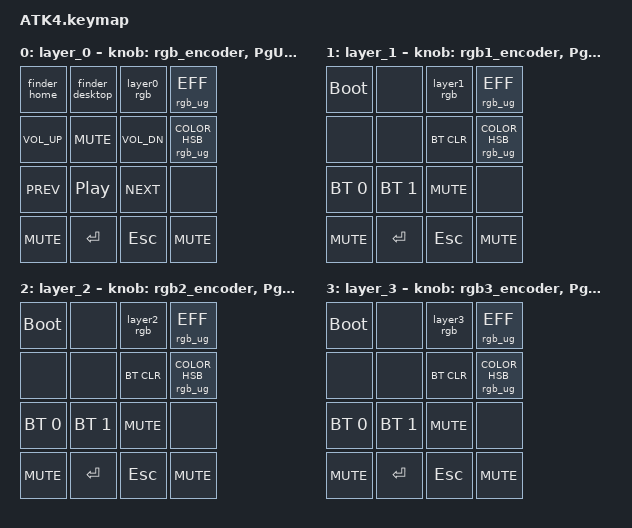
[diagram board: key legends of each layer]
#include <behaviors.dtsi>
#include <dt-bindings/zmk/keys.h>
#include <dt-bindings/zmk/bt.h>
#include <dt-bindings/zmk/outputs.h>
#include <dt-bindings/zmk/rgb.h>

/ {

    behaviors {

   

   erm0_hid: behavior_output_config_erm0_transport {
                        compatible = "zmk,behavior-output-config";
                        #binding-cells = <0>; 
                        device = <&erm0>;
                        source = "layer-state-change";
                         // force = <0>;
  };



   rgb_encoder: rgb_encoder {
            compatible = "zmk,behavior-sensor-rotate";
            #sensor-binding-cells = <0>;
            bindings = <&layer0_rgb>, <&layer0_rgb>;
        };

        rgb1_encoder: rgb1_encoder {
            compatible = "zmk,behavior-sensor-rotate";
            #sensor-binding-cells = <0>;
            bindings = <&layer1_rgb>, <&layer1_rgb>;
        };

        rgb2_encoder: rgb2_encoder {
            compatible = "zmk,behavior-sensor-rotate";
            #sensor-binding-cells = <0>;
            bindings = <&layer2_rgb>, <&layer2_rgb>;
        };

        rgb3_encoder: rgb3_encoder {
            compatible = "zmk,behavior-sensor-rotate";
            #sensor-binding-cells = <0>;
            bindings = <&layer3_rgb>, <&layer3_rgb>;
        };
};

    rgb_ug_colors {
        compatible = "zmk,rgb-underglow-colors";
        layer_1 {
            label = "layer_1";
            color = <255 0 0>;    // Red for Layer 0
        };
        layer_2 {
            label = "layer_2";
            color = <0 255 0>;    // Green for Layer 1
        };
        layer_3 {
            label = "layer_3";
            color = <0 0 255>;    // Blue for Layer 2
        };
    };

    macros {
        finder_home: finder_home {
            compatible = "zmk,behavior-macro";
            #binding-cells = <0>;
            wait-ms = <40>;
            tap-ms = <40>;
            bindings =
                <&macro_press &kp LEFT_COMMAND>,
                <&macro_press &kp LEFT_SHIFT>,
                <&macro_tap &kp H>,
                <&macro_release &kp LEFT_COMMAND>,
                <&macro_release &kp LEFT_SHIFT>;
        };
        finder_desktop: finder_desktop {
            compatible = "zmk,behavior-macro";
            #binding-cells = <0>;
            wait-ms = <40>;
            tap-ms = <40>;
            bindings =
                <&macro_press &kp LEFT_COMMAND>,
                <&macro_press &kp LEFT_SHIFT>,
                <&macro_tap &kp D>,
                <&macro_release &kp LEFT_COMMAND>,
                <&macro_release &kp LEFT_SHIFT>;
        };

        layer0_rgb: layer0_rgb {
            compatible = "zmk,behavior-macro";
            #binding-cells = <0>;
            wait-ms = <0>;
            tap-ms = <10>;
            bindings =
                <&to 1>,
                <&erm0_hid>,
                <&rgb_ug RGB_COLOR_HSB(128,100,100)>;
        };

        layer1_rgb: layer1_rgb {
            compatible = "zmk,behavior-macro";
            #binding-cells = <0>;
            wait-ms = <0>;
            tap-ms = <10>;
            bindings =
                <&to 2>,
                <&erm0_hid>,
                <&rgb_ug RGB_COLOR_HSB(240,100,100)>;
        };

        layer2_rgb: layer2_rgb {
            compatible = "zmk,behavior-macro";
            #binding-cells = <0>;
            wait-ms = <0>;
            tap-ms = <10>;
            bindings =
                <&to 3>,
                <&erm0_hid>,
                <&rgb_ug RGB_COLOR_HSB(60,100,100)>;
        };

        layer3_rgb: layer3_rgb {
            compatible = "zmk,behavior-macro";
            #binding-cells = <0>;
            wait-ms = <0>;
            tap-ms = <10>;
            bindings =
                <&to 0>,
                <&erm0_hid>,
                <&rgb_ug RGB_COLOR_HSB(0,100,100)>;
        };

        haptic_feedback: haptic_feedback {
                compatible = "zmk,behavior-macro";
                #binding-cells = <0>;
                wait-ms = <0>;
                tap-ms = <10>;
                bindings = <
                    &erm0_hid
                >;
};


        finder_downloads: finder_downloads {
            compatible = "zmk,behavior-macro";
            #binding-cells = <0>;
            wait-ms = <40>;
            tap-ms = <40>;
            bindings =
                <&macro_press &kp LEFT_COMMAND>,
                <&macro_press &kp LEFT_ALT>,
                <&macro_tap &kp L>,
                <&macro_release &kp LEFT_COMMAND>,
                <&macro_release &kp LEFT_ALT>;
        };
    };

    keymap {
        compatible = "zmk,keymap";

        layer_0 {
            bindings = <
                &finder_home       &finder_desktop      &layer0_rgb     &rgb_ug RGB_EFF
                &kp C_VOL_UP       &kp C_MUTE           &kp C_VOL_DN    &rgb_ug RGB_COLOR_HSB(0,100,100)
                &kp C_PREV         &kp C_PLAY_PAUSE     &kp C_NEXT      &none
                &kp C_MUTE         &kp ENTER            &kp ESC         &kp C_MUTE
            >;
            output-config-bindings = <&erm0_hid>;
            sensor-bindings = <
                &rgb_encoder   
                &inc_dec_kp PG_UP PG_DN      // Encoder 2
                &inc_dec_kp C_VOL_UP C_VOL_DN // Encoder 3
            >;
        };

        layer_1 {
            bindings = <
                &bootloader        &none                &layer1_rgb         &rgb_ug RGB_EFF
                &none              &none                &bt BT_CLR          &rgb_ug RGB_COLOR_HSB(128,100,100)
                &bt BT_SEL 0       &bt BT_SEL 1         &kp C_MUTE          &none
                &kp C_MUTE         &kp ENTER            &kp ESC             &kp C_MUTE
            >;
            output-config-bindings = <&erm0_hid>;
            sensor-bindings = <
                &rgb1_encoder            
                &inc_dec_kp PG_UP PG_DN      // Encoder 2
                &inc_dec_kp C_VOL_UP C_VOL_DN // Encoder 3
            >;
        };

        layer_2 {
            bindings = <
                &bootloader        &none                &layer2_rgb         &rgb_ug RGB_EFF
                &none              &none                &bt BT_CLR          &rgb_ug RGB_COLOR_HSB(128,100,100)
                &bt BT_SEL 0       &bt BT_SEL 1         &kp C_MUTE          &none
                &kp C_MUTE         &kp ENTER            &kp ESC             &kp C_MUTE
            >;
            output-config-bindings = <&erm0_hid>;
            sensor-bindings = <
               &rgb2_encoder          
                &inc_dec_kp PG_UP PG_DN      // Encoder 2
                &inc_dec_kp C_VOL_UP C_VOL_DN // Encoder 3
            >;
        };

        layer_3 {
            bindings = <
                &bootloader        &none                &layer3_rgb         &rgb_ug RGB_EFF
                &none              &none                &bt BT_CLR          &rgb_ug RGB_COLOR_HSB(128,100,100)
                &bt BT_SEL 0       &bt BT_SEL 1         &kp C_MUTE          &none
                &kp C_MUTE         &kp ENTER            &kp ESC             &kp C_MUTE
            >;
            output-config-bindings = <&erm0_hid>;
            sensor-bindings = <
               &rgb3_encoder       
                &inc_dec_kp PG_UP PG_DN      // Encoder 2
                &inc_dec_kp C_VOL_UP C_VOL_DN // Encoder 3
            >;
        };

    };
};
